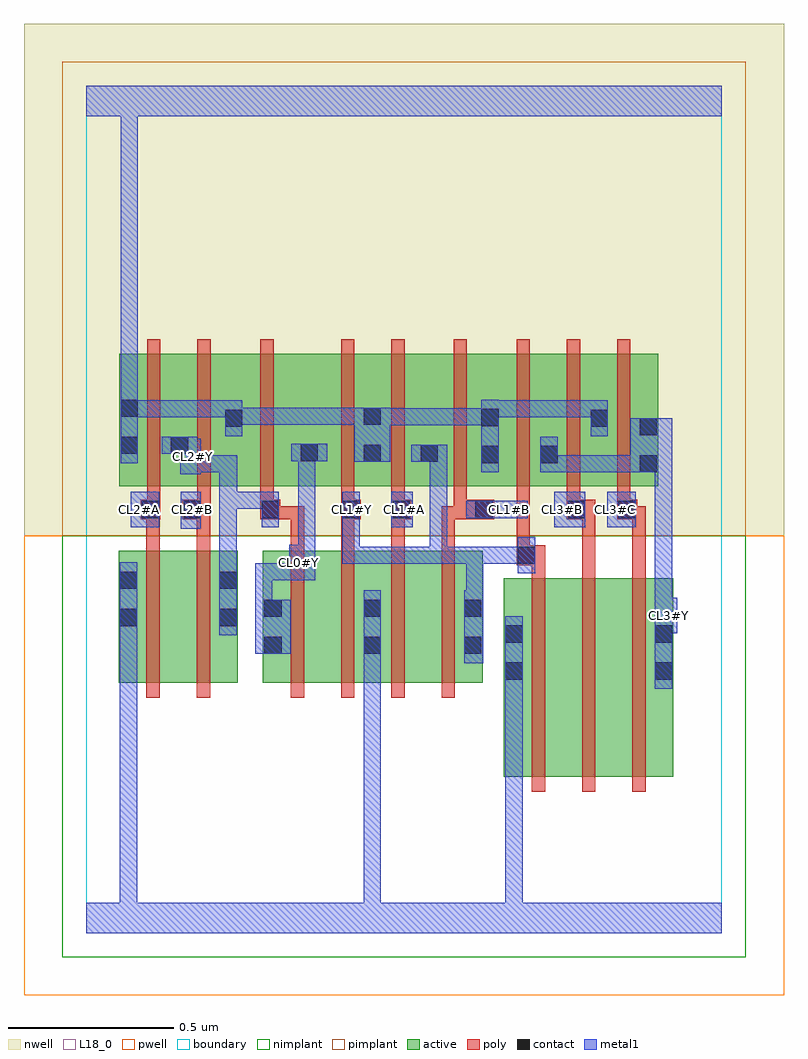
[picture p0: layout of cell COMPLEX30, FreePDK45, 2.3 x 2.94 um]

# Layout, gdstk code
import gdstk
lib = gdstk.Library(unit=1e-6, precision=1e-09)
def R(c, l, rs):  # rectangles x0, y0, x1, y1
    for r in rs: c.add(gdstk.rectangle(r[:2], r[2:], *l))
def A(c, l, x, y, w, h, nx, ny, dx, dy):  # array of equal rectangles
    R(c, l, [(x+i*dx, y+j*dy, x+i*dx+w, y+j*dy+h) for i in range(nx) for j in range(ny)])
active = (1, 0)
pwell = (2, 0)
nwell = (3, 0)
nimplant = (4, 0)
pimplant = (5, 0)
poly = (9, 0)
contact = (10, 0)
metal1 = (11, 0)
L18_0 = (18, 0)
boundary = (235, 0)

complex30 = lib.new_cell('COMPLEX30')
R(complex30, active, [(1.262,0.472,1.322,1.072), (1.262,0.472,1.442,1.072), (1.442,0.472,1.594,1.072), (1.594,0.472,1.774,1.072), (1.714,0.472,1.774,1.072), (0.098,0.756,0.158,1.156), (0.098,0.756,0.278,1.156), (0.278,0.756,0.458,1.156), (0.398,0.756,0.458,1.156), (0.534,0.756,0.594,1.156), (0.534,0.756,0.714,1.156), (0.714,0.756,0.894,1.156), (0.834,0.756,1.018,1.156), (0.834,0.756,0.894,1.012), (1.018,0.756,1.198,1.156), (1.138,0.756,1.198,1.156), (0.1,1.35,0.16,1.644), (0.1,1.35,0.312,1.75), (0.252,1.35,0.476,1.75), (0.416,1.35,0.704,1.75), (0.644,1.35,0.894,1.75), (0.834,1.35,1.066,1.75), (1.006,1.35,1.25,1.75), (1.19,1.35,1.428,1.75), (1.368,1.35,1.58,1.75), (1.52,1.35,1.728,1.75), (1.668,1.35,1.728,1.644), (1.19,1.416,1.25,1.644), (1.368,1.416,1.428,1.644), (0.834,1.42,0.894,1.644), (1.006,1.42,1.066,1.644), (0.644,1.422,0.704,1.644), (0.252,1.444,0.312,1.644), (0.416,1.526,0.476,1.644), (1.52,1.526,1.58,1.644)])
R(complex30, pwell, [(-0.188,-0.188,2.108,1.2)])
R(complex30, nwell, [(-0.188,1.2,2.108,2.748)])
R(complex30, nimplant, [(-0.072,-0.072,1.992,1.2)])
R(complex30, pimplant, [(-0.072,1.2,1.992,2.632)])
A(complex30, poly, 1.346, 0.428, 0.04, 0.688, 3, 1, 0.152, 0)
A(complex30, poly, 0.618, 0.712, 0.04, 0.488, 4, 1, 0.152, 0)
A(complex30, poly, 0.618, 1.16, 0.04, 0.13, 4, 1, 0.152, 0)
A(complex30, poly, 1.3, 1.306, 0.04, 0.488, 3, 1, 0.152, 0)
R(complex30, poly, [(0.182,0.712,0.222,1.2), (0.334,0.712,0.374,1.2), (1.346,1.076,1.386,1.152), (1.498,1.076,1.538,1.29), (1.65,1.076,1.69,1.29), (1.3,1.112,1.386,1.172), (1.3,1.132,1.34,1.172), (1.3,1.132,1.34,1.172), (1.3,1.132,1.34,1.346), (0.182,1.16,0.222,1.29), (0.334,1.16,0.374,1.29), (0.164,1.25,0.224,1.31), (0.29,1.25,0.374,1.31), (0.526,1.25,0.586,1.31), (0.546,1.25,0.586,1.29), (0.546,1.25,0.658,1.29), (0.77,1.25,0.83,1.31), (0.922,1.25,0.962,1.29), (0.922,1.25,0.962,1.29), (0.922,1.25,0.982,1.31), (1.074,1.25,1.15,1.29), (1.11,1.25,1.15,1.29), (1.11,1.25,1.232,1.31), (1.452,1.25,1.538,1.31), (1.604,1.25,1.664,1.31), (1.624,1.25,1.664,1.29), (1.624,1.25,1.69,1.29), (0.184,1.27,0.224,1.346), (0.184,1.27,0.224,1.31), (0.184,1.27,0.224,1.31), (0.334,1.27,0.374,1.31), (0.334,1.27,0.376,1.31), (0.336,1.27,0.376,1.346), (0.526,1.27,0.566,1.346), (0.77,1.27,0.81,1.346), (0.77,1.27,0.81,1.31), (0.77,1.27,0.81,1.31), (0.922,1.27,0.962,1.346), (1.11,1.27,1.15,1.346), (1.452,1.27,1.492,1.346), (1.452,1.27,1.492,1.31), (1.452,1.27,1.492,1.31), (1.604,1.27,1.644,1.346), (0.184,1.306,0.224,1.794), (0.336,1.306,0.376,1.794), (0.526,1.306,0.566,1.794), (0.77,1.306,0.81,1.794), (0.922,1.306,0.962,1.794), (1.11,1.306,1.15,1.794)])
R(complex30, contact, [(1.266,0.766,1.318,0.818), (1.718,0.766,1.77,0.818), (0.538,0.844,0.59,0.896), (0.838,0.844,0.89,0.896), (1.142,0.844,1.194,0.896), (1.266,0.878,1.318,0.93), (1.718,0.878,1.77,0.93), (0.102,0.928,0.154,0.98), (0.402,0.928,0.454,0.98), (0.538,0.956,0.59,1.008), (0.838,0.956,0.89,1.008), (1.142,0.956,1.194,1.008), (0.102,1.04,0.154,1.092), (0.402,1.04,0.454,1.092), (1.304,1.116,1.356,1.168), (0.168,1.254,0.22,1.306), (0.294,1.254,0.346,1.306), (0.53,1.254,0.582,1.306), (0.774,1.254,0.826,1.306), (0.926,1.254,0.978,1.306), (1.176,1.254,1.228,1.306), (1.456,1.254,1.508,1.306), (1.608,1.254,1.66,1.306), (1.672,1.392,1.724,1.444), (1.194,1.42,1.246,1.472), (1.372,1.42,1.424,1.472), (0.838,1.424,0.89,1.476), (1.01,1.424,1.062,1.476), (0.648,1.426,0.7,1.478), (0.104,1.448,0.156,1.5), (0.256,1.448,0.308,1.5), (1.672,1.504,1.724,1.556), (0.42,1.53,0.472,1.582), (1.524,1.53,1.576,1.582), (1.194,1.532,1.246,1.584), (0.838,1.536,0.89,1.588), (0.104,1.56,0.156,1.612)])
R(complex30, metal1, [(0,0,1.92,0.092), (0.102,0.04,0.154,0.092), (0.102,0.04,0.154,0.092), (0.102,0.04,0.154,0.092), (0.102,0.04,0.154,0.092), (0.102,0.04,0.154,0.092), (0.102,0.04,0.154,0.092), (0.102,0.04,0.154,0.092), (0.102,0.04,0.154,0.092), (0.102,0.04,0.154,0.092), (0.102,0.04,0.154,0.092), (0.102,0.04,0.154,0.952), (0.838,0.04,0.89,0.092), (0.838,0.04,0.89,0.092), (0.838,0.04,0.89,0.092), (0.838,0.04,0.89,0.092), (0.838,0.04,0.89,0.092), (0.838,0.04,0.89,0.092), (0.838,0.04,0.89,0.092), (0.838,0.04,0.89,0.092), (0.838,0.04,0.89,0.092), (0.838,0.04,0.89,0.092), (0.838,0.04,0.89,0.092), (0.838,0.04,0.89,0.092), (0.838,0.04,0.89,0.868), (1.266,0.04,1.318,0.092), (1.266,0.04,1.318,0.092), (1.266,0.04,1.318,0.092), (1.266,0.04,1.318,0.092), (1.266,0.04,1.318,0.092), (1.266,0.04,1.318,0.092), (1.266,0.04,1.318,0.092), (1.266,0.04,1.318,0.092), (1.266,0.04,1.318,0.79), (1.266,0.738,1.318,0.958), (1.718,0.738,1.77,0.958), (0.838,0.816,0.89,1.036), (1.142,0.816,1.2,1.036), (0.51,0.844,0.618,1.008), (0.102,0.9,0.154,0.952), (0.102,0.9,0.154,0.952), (0.102,0.9,0.154,1.12), (0.402,0.9,0.454,1.12), (1.718,0.906,1.77,0.958), (1.718,0.906,1.786,1.014), (0.51,0.956,0.562,1.118), (1.718,0.962,1.77,1.444), (1.718,0.962,1.77,1.014), (1.718,0.962,1.77,1.014), (1.148,0.984,1.2,1.168), (0.51,1.066,0.562,1.118), (0.51,1.066,0.666,1.118), (0.614,1.066,0.666,1.118), (0.614,1.066,0.666,1.118), (0.614,1.066,0.692,1.174), (0.402,1.068,0.454,1.334), (1.304,1.088,1.356,1.196), (0.774,1.116,1.09,1.168), (0.774,1.116,0.826,1.278), (1.038,1.116,1.2,1.168), (1.038,1.116,1.09,1.168), (1.038,1.116,1.09,1.168), (1.038,1.116,1.09,1.168), (1.038,1.116,1.09,1.168), (1.038,1.116,1.09,1.168), (1.038,1.116,1.09,1.476), (1.148,1.116,1.2,1.168), (1.148,1.116,1.2,1.168), (1.148,1.116,1.2,1.168), (1.148,1.116,1.314,1.168), (1.262,1.116,1.314,1.168), (1.262,1.116,1.356,1.168), (0.64,1.122,0.692,1.174), (0.64,1.122,0.692,1.174), (0.64,1.122,0.692,1.478), (0.286,1.222,0.346,1.334), (0.134,1.226,0.22,1.334), (0.53,1.226,0.582,1.334), (0.774,1.226,0.826,1.278), (0.774,1.226,0.826,1.334), (0.922,1.226,0.986,1.334), (1.414,1.226,1.508,1.334), (1.574,1.226,1.66,1.334), (1.148,1.254,1.334,1.306), (0.402,1.282,0.454,1.334), (0.402,1.282,0.454,1.334), (0.402,1.282,0.456,1.444), (0.404,1.282,0.456,1.334), (0.404,1.282,0.456,1.334), (0.404,1.282,0.582,1.334), (0.284,1.386,0.346,1.494), (0.294,1.392,0.346,1.444), (0.294,1.392,0.346,1.444), (0.294,1.392,0.454,1.444), (1.194,1.392,1.246,1.612), (1.372,1.392,1.424,1.5), (1.372,1.392,1.466,1.444), (1.414,1.392,1.466,1.444), (1.414,1.392,1.586,1.444), (1.534,1.392,1.696,1.444), (1.534,1.392,1.586,1.444), (1.534,1.392,1.586,1.444), (1.534,1.392,1.586,1.444), (1.644,1.392,1.77,1.556), (0.104,1.42,0.156,1.64), (0.81,1.424,0.918,1.588), (0.982,1.424,1.09,1.476), (0.62,1.426,0.728,1.478), (0.284,1.442,0.336,1.5), (0.228,1.448,0.336,1.5), (0.42,1.502,0.472,1.61), (1.524,1.502,1.576,1.61), (0.866,1.534,1.028,1.586), (0.976,1.534,1.028,1.586), (0.976,1.534,1.028,1.586), (0.976,1.534,1.028,1.586), (0.976,1.534,1.2,1.586), (1.148,1.534,1.2,1.586), (1.148,1.534,1.246,1.586), (0.42,1.536,0.472,1.588), (0.42,1.536,0.472,1.588), (0.42,1.536,0.716,1.588), (0.664,1.536,0.716,1.588), (0.664,1.536,0.716,1.588), (0.664,1.536,0.716,1.588), (0.664,1.536,0.862,1.588), (0.81,1.536,0.862,1.588), (0.81,1.536,0.862,1.588), (0.104,1.558,0.156,1.61), (0.104,1.558,0.156,1.61), (0.104,1.558,0.344,1.61), (0.292,1.558,0.344,1.61), (0.292,1.558,0.344,1.61), (0.292,1.558,0.344,1.61), (0.292,1.558,0.472,1.61), (1.194,1.558,1.31,1.61), (1.258,1.558,1.31,1.61), (1.258,1.558,1.356,1.61), (1.304,1.558,1.466,1.61), (1.304,1.558,1.356,1.61), (1.414,1.558,1.576,1.61), (1.414,1.558,1.466,1.61), (1.414,1.558,1.466,1.61), (1.414,1.558,1.466,1.61), (0.104,1.588,0.156,1.64), (0.104,1.588,0.156,1.64), (0.104,1.588,0.156,1.64), (0.104,1.588,0.156,1.64), (0.104,1.588,0.156,1.64), (0.104,1.588,0.156,1.64), (0.104,1.588,0.156,1.64), (0.104,1.588,0.156,1.64), (0.104,1.588,0.156,1.64), (0.104,1.588,0.156,1.64), (0.104,1.588,0.156,1.64), (0.104,1.588,0.156,1.64), (0.104,1.588,0.156,2.52), (0,2.468,1.92,2.56), (0.104,2.468,0.156,2.52), (0.104,2.468,0.156,2.52), (0.104,2.468,0.156,2.52), (0.104,2.468,0.156,2.52)])
A(complex30, L18_0, 1.254, 1.254, 0.052, 0.052, 3, 1, 0.16, 0)
R(complex30, L18_0, [(0,0,1.92,0.092), (0.102,0.04,0.154,0.092), (0.102,0.04,0.154,0.092), (0.102,0.04,0.154,0.092), (0.102,0.04,0.154,0.092), (0.102,0.04,0.154,0.092), (0.102,0.04,0.154,0.092), (0.102,0.04,0.154,0.092), (0.102,0.04,0.154,0.092), (0.102,0.04,0.154,0.092), (0.102,0.04,0.154,0.092), (0.102,0.04,0.154,0.952), (0.838,0.04,0.89,0.092), (0.838,0.04,0.89,0.092), (0.838,0.04,0.89,0.092), (0.838,0.04,0.89,0.092), (0.838,0.04,0.89,0.092), (0.838,0.04,0.89,0.092), (0.838,0.04,0.89,0.092), (0.838,0.04,0.89,0.092), (0.838,0.04,0.89,0.092), (0.838,0.04,0.89,0.092), (0.838,0.04,0.89,0.092), (0.838,0.04,0.89,0.092), (0.838,0.04,0.89,0.868), (1.266,0.04,1.318,0.092), (1.266,0.04,1.318,0.092), (1.266,0.04,1.318,0.092), (1.266,0.04,1.318,0.092), (1.266,0.04,1.318,0.092), (1.266,0.04,1.318,0.092), (1.266,0.04,1.318,0.092), (1.266,0.04,1.318,0.092), (1.266,0.04,1.318,0.79), (1.266,0.738,1.318,0.958), (1.718,0.738,1.77,0.958), (0.838,0.816,0.89,1.036), (1.142,0.816,1.2,1.036), (0.51,0.844,0.618,1.008), (0.102,0.9,0.154,0.952), (0.102,0.9,0.154,0.952), (0.102,0.9,0.154,1.12), (0.402,0.9,0.454,1.12), (1.718,0.906,1.77,0.958), (1.718,0.906,1.786,1.014), (1.734,0.934,1.786,0.986), (0.51,0.956,0.562,1.118), (1.718,0.962,1.77,1.014), (1.718,0.962,1.77,1.014), (1.718,0.962,1.77,1.444), (1.148,0.984,1.2,1.168), (0.51,1.066,0.562,1.118), (0.51,1.066,0.666,1.118), (0.614,1.066,0.666,1.118), (0.614,1.066,0.666,1.118), (0.614,1.066,0.692,1.174), (0.402,1.068,0.454,1.334), (1.304,1.088,1.356,1.196), (0.614,1.094,0.666,1.146), (0.774,1.116,0.826,1.278), (0.774,1.116,1.09,1.168), (1.038,1.116,1.09,1.168), (1.038,1.116,1.09,1.168), (1.038,1.116,1.09,1.168), (1.038,1.116,1.09,1.168), (1.038,1.116,1.09,1.168), (1.038,1.116,1.2,1.168), (1.038,1.116,1.09,1.476), (1.148,1.116,1.2,1.168), (1.148,1.116,1.2,1.168), (1.148,1.116,1.2,1.168), (1.148,1.116,1.314,1.168), (1.262,1.116,1.314,1.168), (1.262,1.116,1.356,1.168), (0.64,1.122,0.692,1.174), (0.64,1.122,0.692,1.174), (0.64,1.122,0.692,1.478), (0.286,1.222,0.346,1.334), (0.134,1.226,0.22,1.334), (0.53,1.226,0.582,1.334), (0.774,1.226,0.826,1.278), (0.774,1.226,0.826,1.334), (0.922,1.226,0.986,1.334), (1.414,1.226,1.508,1.334), (1.574,1.226,1.66,1.334), (0.134,1.254,0.186,1.306), (0.294,1.254,0.346,1.306), (0.774,1.254,0.826,1.306), (0.934,1.254,0.986,1.306), (1.148,1.254,1.334,1.306), (0.402,1.282,0.454,1.334), (0.402,1.282,0.454,1.334), (0.402,1.282,0.456,1.444), (0.404,1.282,0.456,1.334), (0.404,1.282,0.456,1.334), (0.404,1.282,0.582,1.334), (0.284,1.386,0.346,1.494), (0.294,1.392,0.346,1.444), (0.294,1.392,0.346,1.444), (0.294,1.392,0.454,1.444), (1.194,1.392,1.246,1.612), (1.372,1.392,1.424,1.5), (1.372,1.392,1.466,1.444), (1.414,1.392,1.466,1.444), (1.414,1.392,1.586,1.444), (1.534,1.392,1.586,1.444), (1.534,1.392,1.586,1.444), (1.534,1.392,1.586,1.444), (1.534,1.392,1.696,1.444), (1.644,1.392,1.77,1.556), (0.294,1.414,0.346,1.466), (0.104,1.42,0.156,1.64), (0.81,1.424,0.918,1.588), (0.982,1.424,1.09,1.476), (0.62,1.426,0.728,1.478), (0.284,1.442,0.336,1.5), (0.228,1.448,0.336,1.5), (0.42,1.502,0.472,1.61), (1.524,1.502,1.576,1.61), (0.866,1.534,1.028,1.586), (0.976,1.534,1.028,1.586), (0.976,1.534,1.028,1.586), (0.976,1.534,1.028,1.586), (0.976,1.534,1.2,1.586), (1.148,1.534,1.2,1.586), (1.148,1.534,1.246,1.586), (0.42,1.536,0.472,1.588), (0.42,1.536,0.472,1.588), (0.42,1.536,0.716,1.588), (0.664,1.536,0.716,1.588), (0.664,1.536,0.716,1.588), (0.664,1.536,0.716,1.588), (0.664,1.536,0.862,1.588), (0.81,1.536,0.862,1.588), (0.81,1.536,0.862,1.588), (0.104,1.558,0.156,1.61), (0.104,1.558,0.156,1.61), (0.104,1.558,0.344,1.61), (0.292,1.558,0.344,1.61), (0.292,1.558,0.344,1.61), (0.292,1.558,0.344,1.61), (0.292,1.558,0.472,1.61), (1.194,1.558,1.31,1.61), (1.258,1.558,1.31,1.61), (1.258,1.558,1.356,1.61), (1.304,1.558,1.356,1.61), (1.304,1.558,1.466,1.61), (1.414,1.558,1.466,1.61), (1.414,1.558,1.466,1.61), (1.414,1.558,1.466,1.61), (1.414,1.558,1.576,1.61), (0.104,1.588,0.156,1.64), (0.104,1.588,0.156,1.64), (0.104,1.588,0.156,1.64), (0.104,1.588,0.156,1.64), (0.104,1.588,0.156,1.64), (0.104,1.588,0.156,1.64), (0.104,1.588,0.156,1.64), (0.104,1.588,0.156,1.64), (0.104,1.588,0.156,1.64), (0.104,1.588,0.156,1.64), (0.104,1.588,0.156,1.64), (0.104,1.588,0.156,1.64), (0.104,1.588,0.156,2.52), (0,2.468,1.92,2.56), (0.104,2.468,0.156,2.52), (0.104,2.468,0.156,2.52), (0.104,2.468,0.156,2.52), (0.104,2.468,0.156,2.52)])
R(complex30, boundary, [(0,0,1.92,2.56)])
complex30.add(gdstk.Label('CL0#Y', (0.64,1.12), layer=11, texttype=0))
complex30.add(gdstk.Label('CL1#A', (0.96,1.28), layer=11, texttype=0))
complex30.add(gdstk.Label('CL1#B', (1.28,1.28), layer=11, texttype=0))
complex30.add(gdstk.Label('CL1#Y', (0.8,1.28), layer=11, texttype=0))
complex30.add(gdstk.Label('CL2#A', (0.16,1.28), layer=11, texttype=0))
complex30.add(gdstk.Label('CL2#B', (0.32,1.28), layer=11, texttype=0))
complex30.add(gdstk.Label('CL2#Y', (0.32,1.44), layer=11, texttype=0))
complex30.add(gdstk.Label('CL3#B', (1.44,1.28), layer=11, texttype=0))
complex30.add(gdstk.Label('CL3#C', (1.6,1.28), layer=11, texttype=0))
complex30.add(gdstk.Label('CL3#Y', (1.76,0.96), layer=11, texttype=0))

lib.write_gds('COMPLEX30.gds')
